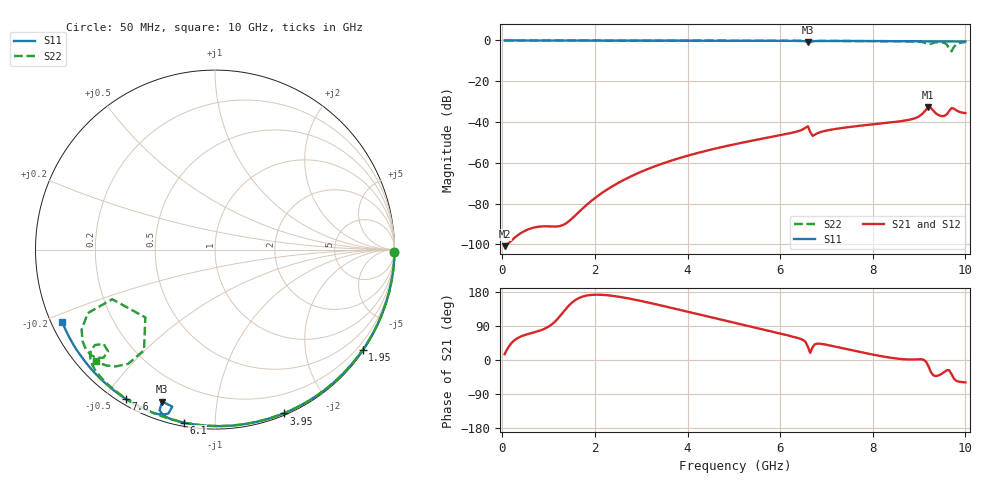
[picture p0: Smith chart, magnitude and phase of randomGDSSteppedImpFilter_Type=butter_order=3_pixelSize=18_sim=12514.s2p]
! freq	dB(S11)	phase(S11)	dB(S12)	phase(S12)
!  dB(S21)	phase(S21)	dB(S22)	phase(S22)
!S-par simulation data
#  GHz  S  DB  R 50
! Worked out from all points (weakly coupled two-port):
!   200 points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, 50 MHz to 10 GHz, reference 50 ohm
!   highest |S21| = -32.86 dB at 9.2 GHz (marker M1); lowest = -100.9 dB at 50 MHz (marker M2)
!   lowest |S11| = -0.9 dB at 6.6 GHz (marker M3), VSWR 18.32, Z = 4.1 - j35.4 ohm
!   |S11| at or under -10 dB: nowhere
!   |S22| runs from -5.3 to 0.0 dB; largest |S21 - S12| = 0
!   S11 on the Smith chart (normalised r, x): 50 MHz: open; 1.95 GHz: 0.03, -3.25; 3.95 GHz: 0.02, -1.50; 6.1 GHz: 0.02, -0.83; 7.6 GHz: 0.02, -0.57; 10 GHz: 0.03, -0.22
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0.05  -0.00 -0.9  -100.91 15.2  -100.91 15.2  -0.00 -0.8
1.75  -0.04 -30.8  -82.11 167.9  -82.11 167.9  -0.04 -29.0
1.95  -0.04 -34.2  -78.22 172.0  -78.22 172.0  -0.04 -32.3
2.6  -0.06 -45.3  -68.69 165.2  -68.69 165.2  -0.06 -42.7
3.4  -0.08 -58.5  -60.86 144.7  -60.86 144.7  -0.07 -55.2
3.95  -0.09 -67.3  -56.87 128.9  -56.87 128.9  -0.09 -63.6
5.05  -0.13 -84.4  -50.75 97.1  -50.75 97.1  -0.12 -79.8
6.1  -0.18 -100.3  -46.04 66.9  -46.04 66.9  -0.17 -94.6
6.6  -0.95 -109.2  -42.11 34.5  -42.11 34.5  -0.19 -101.5
6.7  -0.45 -105.9  -46.81 33.9  -46.81 33.9  -0.20 -102.9
6.95  -0.25 -111.1  -44.46 41.4  -44.46 41.4  -0.22 -106.3
7.6  -0.28 -120.8  -42.17 24.3  -42.17 24.3  -0.26 -115.2
8.35  -0.34 -131.4  -40.30 6.7  -40.30 6.7  -0.34 -125.9
8.95  -0.40 -139.8  -37.80 1.8  -37.80 1.8  -0.55 -136.7
9.2  -0.42 -143.3  -32.86 -15.7  -32.86 -15.7  -1.80 -139.8
9.4  -0.44 -146.1  -36.36 -41.6  -36.36 -41.6  -0.84 -139.9
9.55  -0.46 -148.3  -36.96 -31.2  -36.96 -31.2  -1.25 -149.1
9.65  -0.47 -149.7  -34.57 -26.9  -34.57 -26.9  -3.93 -154.3
9.7  -0.48 -150.4  -33.21 -37.0  -33.21 -37.0  -5.32 -135.8
9.75  -0.49 -151.1  -33.43 -48.8  -33.43 -48.8  -3.27 -125.2
9.8  -0.49 -151.8  -34.21 -54.6  -34.21 -54.6  -1.95 -127.2
10  -0.52 -154.7  -35.63 -59.1  -35.63 -59.1  -0.82 -136.9
